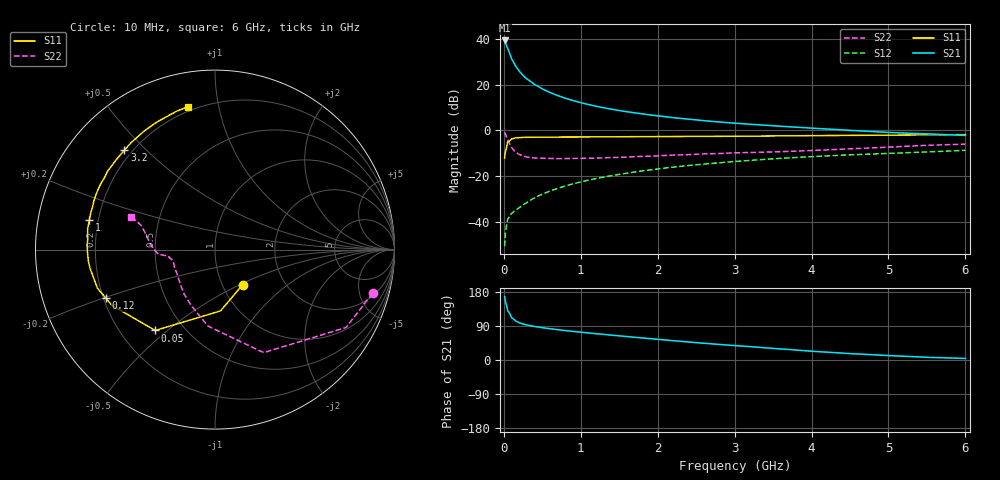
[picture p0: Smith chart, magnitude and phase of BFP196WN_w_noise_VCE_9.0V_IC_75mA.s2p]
! Infineon Technologies  Discrete & RF Semiconductors
! BFP196WN
! VCE =  9.0 V,  IC =  75 mA
! Common Emitter S-Parameters:  Jan 2017
# GHz  S  MA  R  50
!  f  S11  S21  S12  S22
! GHz  MAG  ANG  MAG  ANG  MAG  ANG  MAG  ANG
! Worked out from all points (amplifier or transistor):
!   77 points, 10 MHz to 6 GHz, reference 50 ohm
!   highest |S21| = 39.2 dB at 10 MHz (marker M1)
!   |S21| within 3 dB of that: start of sweep to 43.4 MHz
!   unconditionally stable (mu >= 1): 583.9 MHz to 2.396 GHz
!   at 130 MHz: K = 0.60, MSG = 32.5 dB, |S12| = -35.4 dB
!   at 2.2 GHz: K = 1.02, MAG = 10.0 dB, |S12| = -16.0 dB
!   at 6 GHz: K = 0.90, MSG = 3.2 dB, |S12| = -8.7 dB
!   lowest NFmin = 1.53 dB at 450 MHz
!   S11 on the Smith chart (normalised r, x): 10 MHz: 1.24, -0.52; 50 MHz: 0.35, -0.45; 120 MHz: 0.21, -0.20; 1 GHz: 0.17, +0.11; 3.2 GHz: 0.17, +0.43; 6 GHz: 0.18, +0.81
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0.01  0.2493 -51.8  91.29 167.1  0.003 83.7  0.9111 -15.5
0.02  0.343 -84.9  83.26 154.5  0.0056 70.0  0.8493 -30.7
0.05  0.5606 -126.5  60.75 129.8  0.0115 54.6  0.6348 -64.7
0.1  0.6529 -151.6  36.56 111.7  0.0155 50.6  0.4275 -95.3
0.12  0.6649 -155.9  32.14 109.1  0.0165 51.0  0.3876 -101.4
0.15  0.6895 -161.9  25.69 103.4  0.018 51.6  0.3384 -113.1
0.2  0.6957 -167.7  19.57 98.5  0.0207 56.1  0.3002 -125.3
0.25  0.704 -171.5  15.79 94.9  0.0239 57.9  0.2781 -132.9
0.3  0.7084 -174.6  13.23 92.4  0.0269 60.6  0.2626 -139.9
0.4  0.7108 -178.9  10.01 88.3  0.0341 65.4  0.2503 -147.9
0.5  0.7125 177.9  8.02 85.3  0.0407 66.6  0.2474 -153.8
0.6  0.7115 175.3  6.704 82.5  0.0478 68.0  0.2454 -158.0
0.8  0.7192 170.7  5.029 77.6  0.0617 70.1  0.2432 -162.5
1  0.7196 166.6  4.028 73.4  0.0752 69.8  0.2463 -166.2
1.1  0.7203 165.0  3.663 71.4  0.0825 69.6  0.2476 -167.3
1.5  0.7277 158.2  2.709 63.7  0.1102 67.9  0.2583 -170.9
2.1  0.7344 148.6  1.988 52.8  0.1514 64.3  0.2842 -173.5
3.1  0.7474 133.8  1.4 36.7  0.2158 56.2  0.3276 -177.6
3.2  0.7492 132.4  1.364 35.3  0.2219 55.4  0.3306 -178.3
4.1  0.7709 119.6  1.097 21.9  0.2732 47.7  0.3705 172.7
5.1  0.7909 108.8  0.889 10.8  0.3203 40.1  0.4402 161.5
6  0.8094 100.9  0.776 4.1  0.3675 34.1  0.5025 158.8
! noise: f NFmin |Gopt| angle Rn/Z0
0.45  1.53  0.57  -176  0.05
0.9  1.66  0.59  -169  0.06
1.9  2.6  0.7  -147  0.2
2.4  3.41  0.71  -138  0.33
